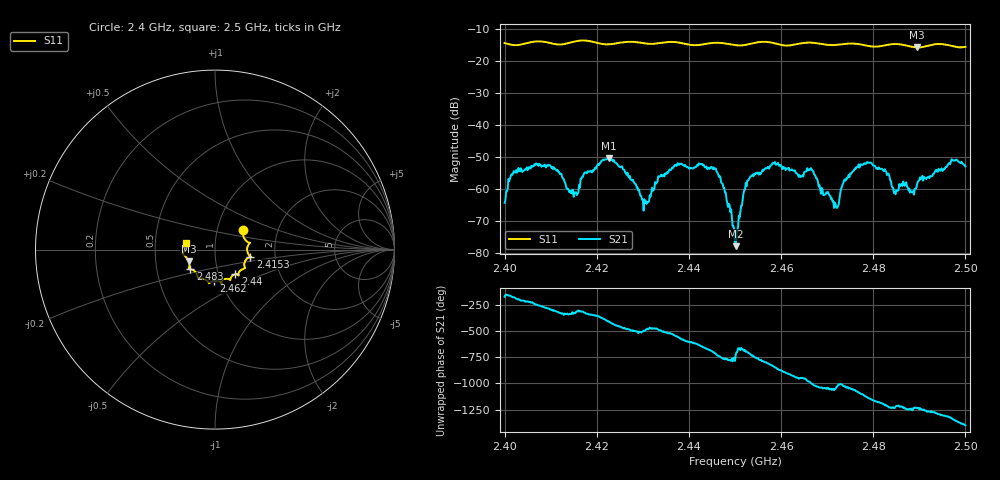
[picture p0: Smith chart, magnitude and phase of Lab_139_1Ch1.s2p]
# Hz S RI R 50
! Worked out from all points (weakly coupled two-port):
!   601 points, 2.4 GHz to 2.5 GHz, reference 50 ohm
!   highest |S21| = -50.38 dB at 2.4227 GHz (marker M1); lowest = -77.9 dB at 2.4502 GHz (marker M2)
!   lowest |S11| = -15.9 dB at 2.4895 GHz (marker M3), VSWR 1.38, Z = 36.9 - j4.99 ohm
!   |S11| at or under -10 dB: start of sweep to end of sweep
!   S12 and S22 are empty: the file has one direction only
!   S11 on the Smith chart (normalised r, x): 2.4 GHz: 1.33, +0.29; 2.4153 GHz: 1.48, -0.12; 2.44 GHz: 1.20, -0.34; 2.462 GHz: 0.93, -0.33; 2.483 GHz: 0.74, -0.17; 2.5 GHz: 0.72, +0.06
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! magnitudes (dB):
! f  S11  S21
! 2.4 GHz  -14.5  -64.4
! 2.4017 GHz  -15.1  -55.7
! 2.407 GHz  -14.0  -52.3
! 2.4153 GHz  -14.0  -61.4
! 2.4167 GHz  -13.7  -56.9
! 2.4227 GHz  -14.9  -50.4
! 2.4307 GHz  -14.6  -63.8
! 2.4333 GHz  -14.6  -56.1
! 2.44 GHz  -15.0  -53.7
! 2.4458 GHz  -14.4  -53.7
! 2.45 GHz  -15.1  -77.9
! 2.4502 GHz  -15.2  -77.9
! 2.4532 GHz  -14.8  -56.7
! 2.462 GHz  -15.2  -54.2
! 2.4667 GHz  -14.4  -54.0
! 2.472 GHz  -15.1  -66.0
! 2.4768 GHz  -14.8  -52.4
! 2.483 GHz  -15.1  -55.7
! 2.4833 GHz  -15.0  -55.3
! 2.485 GHz  -14.8  -60.5
! 2.4895 GHz  -15.9  -58.7
! 2.5 GHz  -15.7  -53.1
